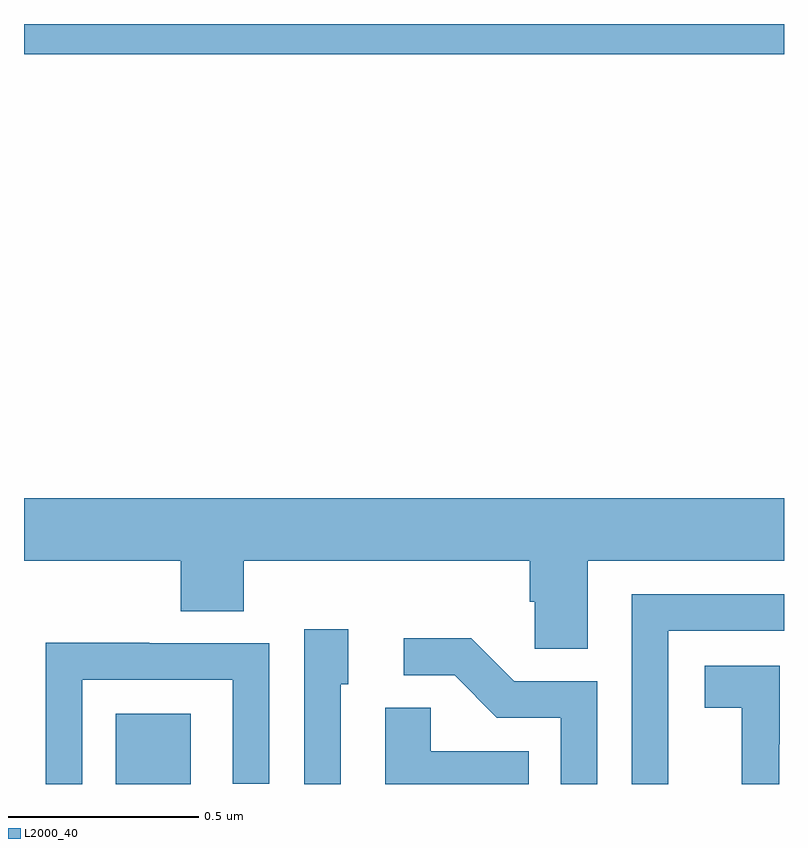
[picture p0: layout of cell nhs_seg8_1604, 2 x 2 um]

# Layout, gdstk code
import gdstk
lib = gdstk.Library(unit=1e-6, precision=1e-09)
def R(c, l, rs):  # rectangles x0, y0, x1, y1
    for r in rs: c.add(gdstk.rectangle(r[:2], r[2:], *l))
def P(c, l, *ps):  # polygons
    for p in ps: c.add(gdstk.Polygon(p, *l))
L2000_40 = (2000, 40)

nhs_seg8_1604 = lib.new_cell('nhs_seg8_1604')
R(nhs_seg8_1604, L2000_40, [(132.242,1127.9,132.439,1128.085), (132,1129.82,134,1129.9)])
P(nhs_seg8_1604, L2000_40, [(133.483,1128.488),(134,1128.488),(134,1128.652),(132,1128.652),(132,1128.488),(132.413,1128.488),(132.413,1128.355),(132.578,1128.355),(132.578,1128.488),(133.331,1128.488),(133.331,1128.379),(133.344,1128.379),(133.344,1128.256),(133.483,1128.256)],
  [(133.695,1128.303),(134,1128.303),(134,1128.399),(133.599,1128.399),(133.599,1127.9),(133.695,1127.9)],
  [(132.834,1128.162),(132.853,1128.162),(132.853,1128.307),(132.738,1128.307),(132.738,1127.9),(132.834,1127.9)],
  [(133.509,1128.171),(133.29,1128.171),(133.177,1128.284),(132.999,1128.284),(132.999,1128.186),(133.133,1128.186),(133.244,1128.075),(133.413,1128.075),(133.413,1127.9),(133.509,1127.9)],
  [(132.153,1128.174),(132.549,1128.174),(132.549,1127.901),(132.645,1127.901),(132.645,1128.27),(132.329,1128.27),(132.329,1128.272),(132.057,1128.272),(132.057,1127.9),(132.153,1127.9)],
  [(133.988,1128.005),(133.989,1128.005),(133.989,1128.211),(133.791,1128.211),(133.791,1128.101),(133.889,1128.101),(133.889,1127.9),(133.988,1127.9)],
  [(133.328,1127.986),(133.071,1127.986),(133.071,1128.101),(132.95,1128.101),(132.95,1127.9),(133.328,1127.9)])

lib.write_gds('nhs_seg8_1604.gds')
